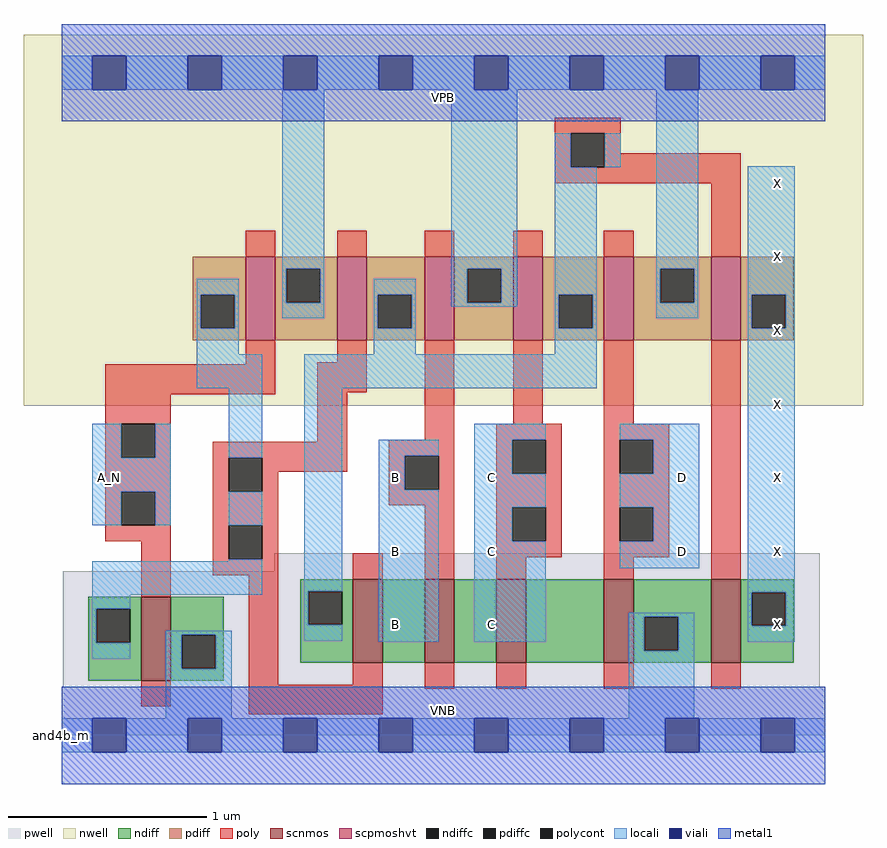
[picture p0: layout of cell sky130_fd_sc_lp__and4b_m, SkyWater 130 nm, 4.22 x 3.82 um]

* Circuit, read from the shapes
.subckt sky130_fd_sc_lp__and4b_m A_N B C D VGND VNB VPB VPWR X
XM1 VGND A_N n1 VNB sky130_fd_pr__nfet_01v8 w=0.42 l=0.15
XM2 n2 n1 n3 VNB sky130_fd_pr__nfet_01v8 w=0.42 l=0.15
XM3 n4 B n2 VNB sky130_fd_pr__nfet_01v8 w=0.42 l=0.15
XM4 n5 C n4 VNB sky130_fd_pr__nfet_01v8 w=0.42 l=0.15
XM5 VGND D n5 VNB sky130_fd_pr__nfet_01v8 w=0.42 l=0.15
XM6 X n3 VGND VNB sky130_fd_pr__nfet_01v8 w=0.42 l=0.15
XM7 VPWR A_N n1 VPB sky130_fd_pr__pfet_01v8_hvt w=0.42 l=0.15
XM8 n3 n1 VPWR VPB sky130_fd_pr__pfet_01v8_hvt w=0.42 l=0.15
XM9 VPWR B n3 VPB sky130_fd_pr__pfet_01v8_hvt w=0.42 l=0.15
XM10 n3 C VPWR VPB sky130_fd_pr__pfet_01v8_hvt w=0.42 l=0.15
XM11 VPWR D n3 VPB sky130_fd_pr__pfet_01v8_hvt w=0.42 l=0.15
XM12 X n3 VPWR VPB sky130_fd_pr__pfet_01v8_hvt w=0.42 l=0.15
.ends

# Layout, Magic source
magic
tech sky130A
magscale 1 2
<< nwell >>
rect -38 331 806 704
<< pwell >>
rect 214 165 762 183
rect 1 49 762 165
rect 0 0 768 49
<< scnmos >>
rect 80 55 110 139
rect 293 73 323 157
rect 365 73 395 157
rect 437 73 467 157
rect 545 73 575 157
rect 653 73 683 157
<< scpmoshvt >>
rect 185 397 215 481
rect 277 397 307 481
rect 365 397 395 481
rect 454 397 484 481
rect 545 397 575 481
rect 653 397 683 481
<< ndiff >>
rect 27 127 80 139
rect 27 93 35 127
rect 69 93 80 127
rect 27 55 80 93
rect 110 101 163 139
rect 110 67 121 101
rect 155 67 163 101
rect 110 55 163 67
rect 240 145 293 157
rect 240 111 248 145
rect 282 111 293 145
rect 240 73 293 111
rect 323 73 365 157
rect 395 73 437 157
rect 467 73 545 157
rect 575 119 653 157
rect 575 85 586 119
rect 620 85 653 119
rect 575 73 653 85
rect 683 144 736 157
rect 683 110 694 144
rect 728 110 736 144
rect 683 73 736 110
<< pdiff >>
rect 132 443 185 481
rect 132 409 140 443
rect 174 409 185 443
rect 132 397 185 409
rect 215 469 277 481
rect 215 435 226 469
rect 260 435 277 469
rect 215 397 277 435
rect 307 443 365 481
rect 307 409 318 443
rect 352 409 365 443
rect 307 397 365 409
rect 395 469 454 481
rect 395 435 408 469
rect 442 435 454 469
rect 395 397 454 435
rect 484 443 545 481
rect 484 409 500 443
rect 534 409 545 443
rect 484 397 545 409
rect 575 469 653 481
rect 575 435 602 469
rect 636 435 653 469
rect 575 397 653 435
rect 683 443 736 481
rect 683 409 694 443
rect 728 409 736 443
rect 683 397 736 409
<< ndiffc >>
rect 35 93 69 127
rect 121 67 155 101
rect 248 111 282 145
rect 586 85 620 119
rect 694 110 728 144
<< pdiffc >>
rect 140 409 174 443
rect 226 435 260 469
rect 318 409 352 443
rect 408 435 442 469
rect 500 409 534 443
rect 602 435 636 469
rect 694 409 728 443
<< poly >>
rect 496 605 562 621
rect 496 571 512 605
rect 546 585 562 605
rect 546 571 683 585
rect 496 555 683 571
rect 185 481 215 507
rect 277 481 307 507
rect 365 481 395 507
rect 454 481 484 507
rect 545 481 575 507
rect 653 481 683 555
rect 185 373 215 397
rect 277 375 307 397
rect 44 343 215 373
rect 257 345 307 375
rect 44 313 110 343
rect 44 279 60 313
rect 94 279 110 313
rect 257 295 287 345
rect 365 297 395 397
rect 454 313 484 397
rect 545 313 575 397
rect 44 245 110 279
rect 44 211 60 245
rect 94 211 110 245
rect 44 195 110 211
rect 80 139 110 195
rect 152 279 287 295
rect 152 245 168 279
rect 202 265 287 279
rect 329 281 395 297
rect 202 245 218 265
rect 152 211 218 245
rect 329 247 345 281
rect 379 247 395 281
rect 329 231 395 247
rect 152 177 168 211
rect 202 177 218 211
rect 152 161 218 177
rect 80 29 110 55
rect 188 51 218 161
rect 293 157 323 183
rect 365 157 395 231
rect 437 297 503 313
rect 437 263 453 297
rect 487 263 503 297
rect 437 229 503 263
rect 437 195 453 229
rect 487 195 503 229
rect 437 179 503 195
rect 545 297 611 313
rect 545 263 561 297
rect 595 263 611 297
rect 545 229 611 263
rect 545 195 561 229
rect 595 195 611 229
rect 545 179 611 195
rect 437 157 467 179
rect 545 157 575 179
rect 653 157 683 397
rect 293 51 323 73
rect 188 21 323 51
rect 365 47 395 73
rect 437 47 467 73
rect 545 47 575 73
rect 653 47 683 73
<< polycont >>
rect 512 571 546 605
rect 60 279 94 313
rect 60 211 94 245
rect 168 245 202 279
rect 345 247 379 281
rect 168 177 202 211
rect 453 263 487 297
rect 453 195 487 229
rect 561 263 595 297
rect 561 195 595 229
<< locali >>
rect 0 649 31 683
rect 65 649 127 683
rect 161 649 223 683
rect 257 649 319 683
rect 353 649 415 683
rect 449 649 511 683
rect 545 649 607 683
rect 641 649 703 683
rect 737 649 768 683
rect 222 469 264 649
rect 136 443 178 459
rect 136 409 140 443
rect 174 409 178 443
rect 222 435 226 469
rect 260 435 264 469
rect 392 469 458 649
rect 222 419 264 435
rect 314 443 356 459
rect 136 383 178 409
rect 314 409 318 443
rect 352 409 356 443
rect 392 435 408 469
rect 442 435 458 469
rect 392 431 458 435
rect 496 571 512 605
rect 546 571 562 605
rect 496 443 538 571
rect 314 383 356 409
rect 496 409 500 443
rect 534 409 538 443
rect 598 469 640 649
rect 598 435 602 469
rect 636 435 640 469
rect 598 419 640 435
rect 690 443 737 572
rect 496 383 538 409
rect 136 349 202 383
rect 31 279 60 313
rect 94 279 110 313
rect 31 245 110 279
rect 31 211 60 245
rect 94 211 110 245
rect 168 279 202 349
rect 168 211 202 245
rect 168 175 202 177
rect 31 141 202 175
rect 244 349 538 383
rect 690 409 694 443
rect 728 409 737 443
rect 244 145 282 349
rect 415 297 487 313
rect 31 127 69 141
rect 31 93 35 127
rect 244 111 248 145
rect 31 77 69 93
rect 105 101 171 105
rect 105 67 121 101
rect 155 67 171 101
rect 244 95 282 111
rect 319 281 379 297
rect 319 247 345 281
rect 319 94 379 247
rect 415 263 453 297
rect 415 229 487 263
rect 415 195 453 229
rect 415 94 487 195
rect 561 297 641 313
rect 595 263 641 297
rect 561 229 641 263
rect 595 195 641 229
rect 561 168 641 195
rect 690 144 737 409
rect 570 119 636 123
rect 105 17 171 67
rect 570 85 586 119
rect 620 85 636 119
rect 690 110 694 144
rect 728 110 737 144
rect 690 94 737 110
rect 570 17 636 85
rect 0 -17 31 17
rect 65 -17 127 17
rect 161 -17 223 17
rect 257 -17 319 17
rect 353 -17 415 17
rect 449 -17 511 17
rect 545 -17 607 17
rect 641 -17 703 17
rect 737 -17 768 17
<< viali >>
rect 31 649 65 683
rect 127 649 161 683
rect 223 649 257 683
rect 319 649 353 683
rect 415 649 449 683
rect 511 649 545 683
rect 607 649 641 683
rect 703 649 737 683
rect 31 -17 65 17
rect 127 -17 161 17
rect 223 -17 257 17
rect 319 -17 353 17
rect 415 -17 449 17
rect 511 -17 545 17
rect 607 -17 641 17
rect 703 -17 737 17
<< metal1 >>
rect 0 683 768 715
rect 0 649 31 683
rect 65 649 127 683
rect 161 649 223 683
rect 257 649 319 683
rect 353 649 415 683
rect 449 649 511 683
rect 545 649 607 683
rect 641 649 703 683
rect 737 649 768 683
rect 0 617 768 649
rect 0 17 768 49
rect 0 -17 31 17
rect 65 -17 127 17
rect 161 -17 223 17
rect 257 -17 319 17
rect 353 -17 415 17
rect 449 -17 511 17
rect 545 -17 607 17
rect 641 -17 703 17
rect 737 -17 768 17
rect 0 -49 768 -17
<< labels >>
flabel pwell s 0 0 768 49 0 FreeSans 200 0 0 0 VNB
port 6 nsew ground bidirectional
flabel nwell s 0 617 768 666 0 FreeSans 200 0 0 0 VPB
port 7 nsew power bidirectional
rlabel comment s 0 0 0 0 4 and4b_m
flabel metal1 s 0 617 768 666 0 FreeSans 340 0 0 0 VPWR
port 8 nsew power bidirectional
flabel metal1 s 0 0 768 49 0 FreeSans 340 0 0 0 VGND
port 5 nsew ground bidirectional
flabel locali s 319 94 353 128 0 FreeSans 340 0 0 0 B
port 2 nsew signal input
flabel locali s 319 168 353 202 0 FreeSans 340 0 0 0 B
port 2 nsew signal input
flabel locali s 319 242 353 276 0 FreeSans 340 0 0 0 B
port 2 nsew signal input
flabel locali s 415 94 449 128 0 FreeSans 340 0 0 0 C
port 3 nsew signal input
flabel locali s 415 168 449 202 0 FreeSans 340 0 0 0 C
port 3 nsew signal input
flabel locali s 415 242 449 276 0 FreeSans 340 0 0 0 C
port 3 nsew signal input
flabel locali s 607 168 641 202 0 FreeSans 340 0 0 0 D
port 4 nsew signal input
flabel locali s 607 242 641 276 0 FreeSans 340 0 0 0 D
port 4 nsew signal input
flabel locali s 31 242 65 276 0 FreeSans 340 0 0 0 A_N
port 1 nsew signal input
flabel locali s 703 94 737 128 0 FreeSans 340 0 0 0 X
port 9 nsew signal output
flabel locali s 703 168 737 202 0 FreeSans 340 0 0 0 X
port 9 nsew signal output
flabel locali s 703 242 737 276 0 FreeSans 340 0 0 0 X
port 9 nsew signal output
flabel locali s 703 316 737 350 0 FreeSans 340 0 0 0 X
port 9 nsew signal output
flabel locali s 703 390 737 424 0 FreeSans 340 0 0 0 X
port 9 nsew signal output
flabel locali s 703 464 737 498 0 FreeSans 340 0 0 0 X
port 9 nsew signal output
flabel locali s 703 538 737 572 0 FreeSans 340 0 0 0 X
port 9 nsew signal output
<< properties >>
string LEFsite unit
string LEFclass CORE
string FIXED_BBOX 0 0 768 666
string GDS_FILE $PDKPATH/libs.ref/sky130_fd_sc_lp/gds/sky130_fd_sc_lp.gds
string LEFsymmetry X Y R90
string GDS_END 5329506
string GDS_START 5321906
<< end >>
